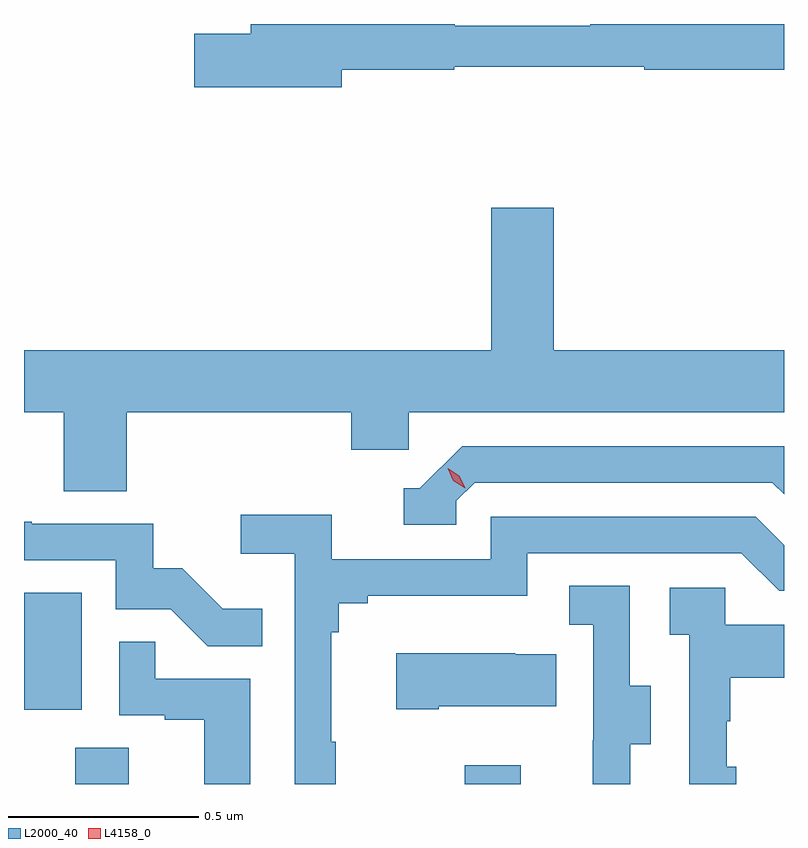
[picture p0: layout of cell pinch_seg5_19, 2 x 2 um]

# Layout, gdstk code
import gdstk
lib = gdstk.Library(unit=1e-6, precision=1e-09)
def R(c, l, rs):  # rectangles x0, y0, x1, y1
    for r in rs: c.add(gdstk.rectangle(r[:2], r[2:], *l))
def P(c, l, *ps):  # polygons
    for p in ps: c.add(gdstk.Polygon(p, *l))
L2000_40 = (2000, 40)
L4158_0 = (4158, 0)

pinch_seg5_19 = lib.new_cell('pinch_seg5_19')
R(pinch_seg5_19, L2000_40, [(1122.953,899.738,1123.093,899.834), (1123.978,899.738,1124.125,899.788), (1122.818,899.934,1122.97,900.241)])
P(pinch_seg5_19, L2000_40, [(1123.654,901.618),(1123.95,901.618),(1123.95,901.626),(1124.45,901.626),(1124.45,901.618),(1124.818,901.618),(1124.818,901.738),(1124.308,901.738),(1124.308,901.734),(1123.952,901.734),(1123.952,901.738),(1123.415,901.738),(1123.415,901.713),(1123.266,901.713),(1123.266,901.571),(1123.654,901.571)],
  [(1123.088,900.716),(1123.679,900.716),(1123.679,900.618),(1123.83,900.618),(1123.83,900.716),(1124.818,900.716),(1124.818,900.88),(1124.212,900.88),(1124.212,901.255),(1124.048,901.255),(1124.048,900.88),(1122.818,900.88),(1122.818,900.716),(1122.923,900.716),(1122.923,900.508),(1123.088,900.508)],
  [(1123.956,900.483),(1124.004,900.531),(1124.787,900.531),(1124.818,900.5),(1124.818,900.627),(1123.971,900.627),(1123.86,900.516),(1123.817,900.516),(1123.817,900.42),(1123.956,900.42)],
  [(1123.639,899.849),(1123.627,899.849),(1123.627,900.137),(1123.646,900.137),(1123.646,900.214),(1123.723,900.214),(1123.723,900.233),(1124.142,900.233),(1124.142,900.345),(1124.706,900.345),(1124.805,900.246),(1124.818,900.246),(1124.818,900.366),(1124.743,900.441),(1124.046,900.441),(1124.046,900.33),(1123.628,900.33),(1123.628,900.446),(1123.389,900.446),(1123.389,900.344),(1123.53,900.344),(1123.53,899.738),(1123.639,899.738)],
  [(1123.445,900.199),(1123.341,900.199),(1123.234,900.306),(1123.158,900.306),(1123.158,900.423),(1122.839,900.423),(1122.839,900.428),(1122.818,900.428),(1122.818,900.327),(1123.059,900.327),(1123.059,900.198),(1123.204,900.198),(1123.302,900.1),(1123.445,900.1)],
  [(1124.413,899.842),(1124.467,899.842),(1124.467,899.997),(1124.412,899.997),(1124.412,900.26),(1124.253,900.26),(1124.253,900.157),(1124.316,900.157),(1124.316,899.853),(1124.315,899.853),(1124.315,899.738),(1124.413,899.738)],
  [(1124.692,899.784),(1124.667,899.784),(1124.667,899.903),(1124.677,899.903),(1124.677,900.017),(1124.818,900.017),(1124.818,900.157),(1124.664,900.157),(1124.664,900.255),(1124.517,900.255),(1124.517,900.131),(1124.568,900.131),(1124.568,899.738),(1124.692,899.738)],
  [(1123.414,900.015),(1123.163,900.015),(1123.163,900.113),(1123.068,900.113),(1123.068,899.919),(1123.189,899.919),(1123.189,899.907),(1123.292,899.907),(1123.292,899.738),(1123.414,899.738)],
  [(1123.909,899.942),(1124.219,899.942),(1124.219,900.079),(1124.111,900.079),(1124.111,900.082),(1123.797,900.082),(1123.797,899.935),(1123.909,899.935)])
P(pinch_seg5_19, L4158_0, [(1123.979,900.516),(1123.948,900.536),(1123.933,900.569),(1123.933,900.569),(1123.933,900.569),(1123.964,900.549),(1123.979,900.516),(1123.979,900.516)])

lib.write_gds('pinch_seg5_19.gds')
